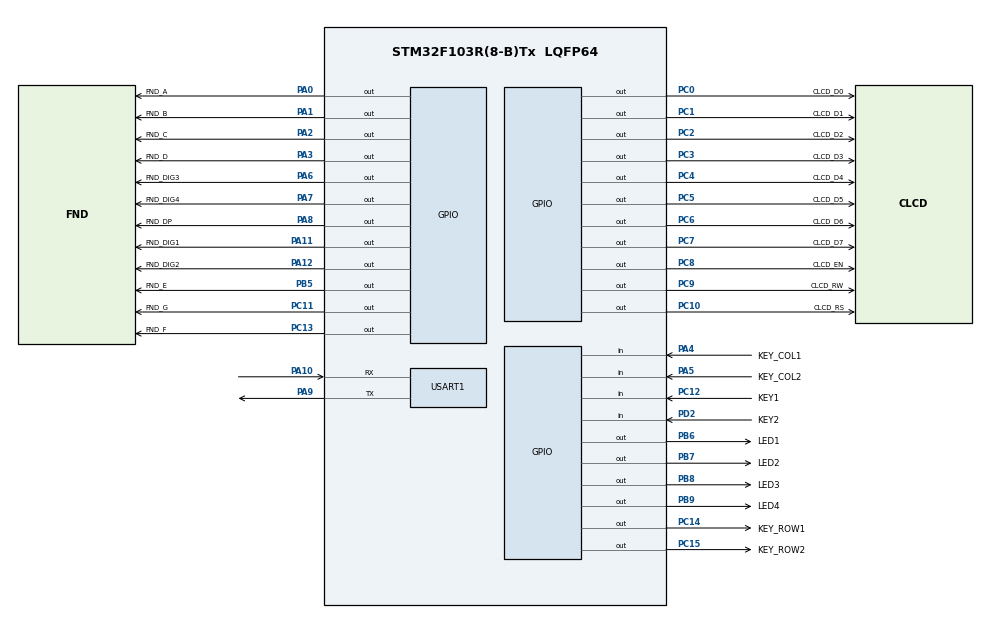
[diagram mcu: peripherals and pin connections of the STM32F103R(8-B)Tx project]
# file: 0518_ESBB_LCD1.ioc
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Mcu.Family=STM32F1
Mcu.Name=STM32F103R(8-B)Tx
Mcu.Package=LQFP64
NVIC.PriorityGroup=NVIC_PRIORITYGROUP_4
NVIC.TIM1_UP_IRQn=true\:0\:0\:false\:false\:true\:true\:true
PA0-WKUP.GPIO_Label=FND_A
PA0-WKUP.Signal=GPIO_Output
PA1.GPIO_Label=FND_B
PA1.Signal=GPIO_Output
PA10.Mode=Asynchronous
PA10.Signal=USART1_RX
PA11.GPIO_Label=FND_DIG1
PA11.Signal=GPIO_Output
PA12.GPIO_Label=FND_DIG2
PA12.Signal=GPIO_Output
PA13.Mode=Serial_Wire
PA13.Signal=SYS_JTMS-SWDIO
PA14.Mode=Serial_Wire
PA14.Signal=SYS_JTCK-SWCLK
PA2.GPIO_Label=FND_C
PA2.Signal=GPIO_Output
PA3.GPIO_Label=FND_D
PA3.Signal=GPIO_Output
PA4.GPIO_Label=KEY_COL1
PA4.Signal=GPIO_Input
PA5.GPIO_Label=KEY_COL2
PA5.Signal=GPIO_Input
PA6.GPIO_Label=FND_DIG3
PA6.Signal=GPIO_Output
PA7.GPIO_Label=FND_DIG4
PA7.Signal=GPIO_Output
PA8.GPIO_Label=FND_DP
PA8.Signal=GPIO_Output
PA9.Mode=Asynchronous
PA9.Signal=USART1_TX
PB5.GPIO_Label=FND_E
PB5.Signal=GPIO_Output
PB6.GPIO_Label=LED1
PB6.Signal=GPIO_Output
PB7.GPIO_Label=LED2
PB7.Signal=GPIO_Output
PB8.GPIO_Label=LED3
PB8.Signal=GPIO_Output
PB9.GPIO_Label=LED4
PB9.Signal=GPIO_Output
PC0.GPIO_Label=CLCD_D0
PC0.Signal=GPIO_Output
PC1.GPIO_Label=CLCD_D1
PC1.Signal=GPIO_Output
PC10.GPIO_Label=CLCD_RS
PC10.Signal=GPIO_Output
PC11.GPIO_Label=FND_G
PC11.Signal=GPIO_Output
PC12.GPIO_Label=KEY1
PC12.Signal=GPIO_Input
PC13-TAMPER-RTC.GPIO_Label=FND_F
PC13-TAMPER-RTC.Signal=GPIO_Output
PC14-OSC32_IN.GPIO_Label=KEY_ROW1
PC14-OSC32_IN.Signal=GPIO_Output
PC15-OSC32_OUT.GPIO_Label=KEY_ROW2
PC15-OSC32_OUT.Signal=GPIO_Output
PC2.GPIO_Label=CLCD_D2
PC2.Signal=GPIO_Output
PC3.GPIO_Label=CLCD_D3
PC3.Signal=GPIO_Output
PC4.GPIO_Label=CLCD_D4
PC4.Signal=GPIO_Output
PC5.GPIO_Label=CLCD_D5
PC5.Signal=GPIO_Output
PC6.GPIO_Label=CLCD_D6
PC6.Signal=GPIO_Output
PC7.GPIO_Label=CLCD_D7
PC7.Signal=GPIO_Output
PC8.GPIO_Label=CLCD_EN
PC8.Signal=GPIO_Output
PC9.GPIO_Label=CLCD_RW
PC9.Signal=GPIO_Output
PD2.GPIO_Label=KEY2
PD2.Signal=GPIO_Input
ProjectManager.HeapSize=0x200
ProjectManager.StackSize=0x400
ProjectManager.TargetToolchain=TrueSTUDIO
RCC.APB1Freq_Value=8000000
RCC.APB2Freq_Value=8000000
TIM1.AutoReloadPreload=TIM_AUTORELOAD_PRELOAD_ENABLE
TIM1.Period=1000-1
TIM1.Prescaler=8-1
USART1.VirtualMode=VM_ASYNC
VP_TIM1_VS_ClockSourceINT.Mode=Internal
board=custom

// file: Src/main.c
/* USER CODE BEGIN Header */
/**
  ******************************************************************************
  * @file           : main.c
  * @brief          : Main program body
  ******************************************************************************
  * @attention
  *
  * <h2><center>&copy; Copyright (c) 2021 STMicroelectronics.
  * All rights reserved.</center></h2>
  *
  * This software component is licensed by ST under BSD 3-Clause license,
  * the "License"; You may not use this file except in compliance with the
  * License. You may obtain a copy of the License at:
  *                        opensource.org/licenses/BSD-3-Clause
  *
  ******************************************************************************
  */
/* USER CODE END Header */

#include "main.h"

/* USER CODE BEGIN Includes */
#include <stdio.h>

#include "led.h"
#include "key.h"
#include "fnd.h"
#include "lcd.h"
/* USER CODE END Includes */

TIM_HandleTypeDef htim1;

UART_HandleTypeDef huart1;

void SystemClock_Config(void);
static void MX_GPIO_Init(void);
static void MX_TIM1_Init(void);
static void MX_USART1_UART_Init(void);

/* USER CODE BEGIN 0 */
volatile uint32_t Tick1m;
uint32_t KeyScanFlag = RESET;
uint8_t  DispScanFlag = RESET;

DISP Disp;    // GLobal variable

void HAL_TIM_PeriodElapsedCallback(TIM_HandleTypeDef *htim)
{
    Tick1m++;

    if( (Tick1m % 100) == 0)
    {
        //KeyScanTask();
        KeyScanFlag = SET;
    }

    if(  (Tick1m % 5) == 0 )
    {
        //DispMuxHandler();
        //DispScanFlag = SET;
        DispMuxHandler(&Disp);
    }
}

int _write(int file, char *ptr, int len)
{
    HAL_UART_Transmit(&huart1, (uint8_t *)ptr, len, 0xFFFFFFFF);

    return len;
}
/* USER CODE END 0 */

int main(void)
{
  /* USER CODE BEGIN 1 */
  //uint8_t key = 0;
  //uint8_t key = 0x2F;
  int8_t key = -10;

  KEY stKey;
  KEY* Key = &stKey ;

  char dispString[4] = "    ";

  //DISP Disp;    // Local variable
  /* USER CODE END 1 */

  /* MCU Configuration--------------------------------------------------------*/

  /* Reset of all peripherals, Initializes the Flash interface and the Systick. */
  HAL_Init();

  /* Configure the system clock */
  SystemClock_Config();

  /* Initialize all configured peripherals */
  MX_GPIO_Init();
  MX_TIM1_Init();
  MX_USART1_UART_Init();
  /* USER CODE BEGIN 2 */
  HAL_TIM_Base_Start_IT(&htim1);

  //KeyInit(&Key);
  KeyInit(Key);

  HAL_GPIO_WritePin(LED1_GPIO_Port, LED1_Pin, GPIO_PIN_SET);    // LED1 OFF
  HAL_GPIO_WritePin(LED2_GPIO_Port, LED2_Pin, GPIO_PIN_SET);    // LED2 OFF
  HAL_GPIO_WritePin(LED3_GPIO_Port, LED3_Pin, GPIO_PIN_SET);    // LED3 OFF
  HAL_GPIO_WritePin(LED4_GPIO_Port, LED4_Pin, GPIO_PIN_SET);    // LED4 OFF

  //DispInit();
  DispInit(&Disp);

  LCD_DispInit();
  LCD_DispString(0, 5, "Key Code");
  /* USER CODE END 2 */

  /* Infinite loop */
  while (1)
  {

    /* USER CODE BEGIN 3 */
      __HAL_TIM_DISABLE_IT(&htim1, TIM_IT_UPDATE);        /*** start critical section ***/
      if ( KeyScanFlag == SET)
      {
          KeyScanFlag = RESET;
          __HAL_TIM_ENABLE_IT(&htim1, TIM_IT_UPDATE);     /*** end critical section ***/
          //KeyScanTask();
          //KeyScanTask(&Key);
          KeyScanTask(Key);
      }
      __HAL_TIM_ENABLE_IT(&htim1, TIM_IT_UPDATE);         /*** end critical section ***/

      //if( KeyHit() )
      //if( KeyHit(&Key) )
      if( KeyHit(Key) )
      {

          //key = KeyGetKey();
          //key = KeyGetKey(&Key);
          key = KeyGetKey(Key);

          switch(key)
          {
              case 0:
              case 4:
              case 8:
                  HAL_GPIO_TogglePin(LED1_GPIO_Port, LED1_Pin);
                  break;
              case 1:
              case 5:
              case 9:
                  HAL_GPIO_TogglePin(LED2_GPIO_Port, LED2_Pin);
                  break;
              case 2:
              case 6:
              case 10:
                  HAL_GPIO_TogglePin(LED3_GPIO_Port, LED3_Pin);
                  break;
              case 3:
              case 7:
              case 11:
                  HAL_GPIO_TogglePin(LED4_GPIO_Port, LED4_Pin);
                  break;
          }
          printf("KEY : %d \r\n", key);
      }
#if 0
      __HAL_TIM_DISABLE_IT(&htim1, TIM_IT_UPDATE);
      if ( DispScanFlag == SET )
      {
          DispScanFlag = RESET;
          __HAL_TIM_ENABLE_IT(&htim1, TIM_IT_UPDATE);
          //DispMuxHandler();
          DispMuxHandler(&Disp);
      }
      __HAL_TIM_ENABLE_IT(&htim1, TIM_IT_UPDATE);
#endif

#if 1
      if(key >= 10){
          dispString[2] = key / 10 + 0x30;
          dispString[3] = key % 10 + 0x30;
      }
      else {
          dispString[2] = 0x20;          // 0x20: Space
          dispString[3] = key + 0x30;    // ASCII Code of '0' : 0x30
      }
      //DispStr(0, dispString);
      DispStr(&Disp, 0, dispString);

      LCD_DispString(0, 0, dispString);
#else
      DispStr(&Disp, 0, "abcd");
#endif

  }
  /* USER CODE END 3 */
}

void SystemClock_Config(void)
{
  RCC_OscInitTypeDef RCC_OscInitStruct = {0};
  RCC_ClkInitTypeDef RCC_ClkInitStruct = {0};

  /** Initializes the CPU, AHB and APB busses clocks
  */
  RCC_OscInitStruct.OscillatorType = RCC_OSCILLATORTYPE_HSI;
  RCC_OscInitStruct.HSIState = RCC_HSI_ON;
  RCC_OscInitStruct.HSICalibrationValue = RCC_HSICALIBRATION_DEFAULT;
  RCC_OscInitStruct.PLL.PLLState = RCC_PLL_NONE;
  if (HAL_RCC_OscConfig(&RCC_OscInitStruct) != HAL_OK)
  {
    Error_Handler();
  }
  /** Initializes the CPU, AHB and APB busses clocks
  */
  RCC_ClkInitStruct.ClockType = RCC_CLOCKTYPE_HCLK|RCC_CLOCKTYPE_SYSCLK
                              |RCC_CLOCKTYPE_PCLK1|RCC_CLOCKTYPE_PCLK2;
  RCC_ClkInitStruct.SYSCLKSource = RCC_SYSCLKSOURCE_HSI;
  RCC_ClkInitStruct.AHBCLKDivider = RCC_SYSCLK_DIV1;
  RCC_ClkInitStruct.APB1CLKDivider = RCC_HCLK_DIV1;
  RCC_ClkInitStruct.APB2CLKDivider = RCC_HCLK_DIV1;

  if (HAL_RCC_ClockConfig(&RCC_ClkInitStruct, FLASH_LATENCY_0) != HAL_OK)
  {
    Error_Handler();
  }
}

static void MX_TIM1_Init(void)
{

  TIM_ClockConfigTypeDef sClockSourceConfig = {0};
  TIM_MasterConfigTypeDef sMasterConfig = {0};

  htim1.Instance = TIM1;
  htim1.Init.Prescaler = 8-1;
  htim1.Init.CounterMode = TIM_COUNTERMODE_UP;
  htim1.Init.Period = 1000-1;
  htim1.Init.ClockDivision = TIM_CLOCKDIVISION_DIV1;
  htim1.Init.RepetitionCounter = 0;
  htim1.Init.AutoReloadPreload = TIM_AUTORELOAD_PRELOAD_ENABLE;
  if (HAL_TIM_Base_Init(&htim1) != HAL_OK)
  {
    Error_Handler();
  }
  sClockSourceConfig.ClockSource = TIM_CLOCKSOURCE_INTERNAL;
  if (HAL_TIM_ConfigClockSource(&htim1, &sClockSourceConfig) != HAL_OK)
  {
    Error_Handler();
  }
  sMasterConfig.MasterOutputTrigger = TIM_TRGO_RESET;
  sMasterConfig.MasterSlaveMode = TIM_MASTERSLAVEMODE_DISABLE;
  if (HAL_TIMEx_MasterConfigSynchronization(&htim1, &sMasterConfig) != HAL_OK)
  {
    Error_Handler();
  }

}

static void MX_USART1_UART_Init(void)
{

  huart1.Instance = USART1;
  huart1.Init.BaudRate = 115200;
  huart1.Init.WordLength = UART_WORDLENGTH_8B;
  huart1.Init.StopBits = UART_STOPBITS_1;
  huart1.Init.Parity = UART_PARITY_NONE;
  huart1.Init.Mode = UART_MODE_TX_RX;
  huart1.Init.HwFlowCtl = UART_HWCONTROL_NONE;
  huart1.Init.OverSampling = UART_OVERSAMPLING_16;
  if (HAL_UART_Init(&huart1) != HAL_OK)
  {
    Error_Handler();
  }

}

static void MX_GPIO_Init(void)
{
  GPIO_InitTypeDef GPIO_InitStruct = {0};

  /* GPIO Ports Clock Enable */
  __HAL_RCC_GPIOC_CLK_ENABLE();
  __HAL_RCC_GPIOA_CLK_ENABLE();
  __HAL_RCC_GPIOD_CLK_ENABLE();
  __HAL_RCC_GPIOB_CLK_ENABLE();

  /*Configure GPIO pin Output Level */
  HAL_GPIO_WritePin(GPIOC, FND_F_Pin|KEY_ROW1_Pin|KEY_ROW2_Pin|CLCD_D0_Pin
                          |CLCD_D1_Pin|CLCD_D2_Pin|CLCD_D3_Pin|CLCD_D4_Pin
                          |CLCD_D5_Pin|CLCD_D6_Pin|CLCD_D7_Pin|CLCD_EN_Pin
                          |CLCD_RW_Pin|CLCD_RS_Pin|FND_G_Pin, GPIO_PIN_RESET);

  /*Configure GPIO pin Output Level */
  HAL_GPIO_WritePin(GPIOA, FND_A_Pin|FND_B_Pin|FND_C_Pin|FND_D_Pin
                          |FND_DIG3_Pin|FND_DIG4_Pin|FND_DP_Pin|FND_DIG1_Pin
                          |FND_DIG2_Pin, GPIO_PIN_RESET);

  /*Configure GPIO pin Output Level */
  HAL_GPIO_WritePin(GPIOB, FND_E_Pin|LED1_Pin|LED2_Pin|LED3_Pin
                          |LED4_Pin, GPIO_PIN_RESET);

  /*Configure GPIO pins : FND_F_Pin KEY_ROW1_Pin KEY_ROW2_Pin CLCD_D0_Pin
                           CLCD_D1_Pin CLCD_D2_Pin CLCD_D3_Pin CLCD_D4_Pin
                           CLCD_D5_Pin CLCD_D6_Pin CLCD_D7_Pin CLCD_EN_Pin
                           CLCD_RW_Pin CLCD_RS_Pin FND_G_Pin */
  GPIO_InitStruct.Pin = FND_F_Pin|KEY_ROW1_Pin|KEY_ROW2_Pin|CLCD_D0_Pin
                          |CLCD_D1_Pin|CLCD_D2_Pin|CLCD_D3_Pin|CLCD_D4_Pin
                          |CLCD_D5_Pin|CLCD_D6_Pin|CLCD_D7_Pin|CLCD_EN_Pin
                          |CLCD_RW_Pin|CLCD_RS_Pin|FND_G_Pin;
  GPIO_InitStruct.Mode = GPIO_MODE_OUTPUT_PP;
  GPIO_InitStruct.Pull = GPIO_NOPULL;
  GPIO_InitStruct.Speed = GPIO_SPEED_FREQ_LOW;
  HAL_GPIO_Init(GPIOC, &GPIO_InitStruct);

  /*Configure GPIO pins : FND_A_Pin FND_B_Pin FND_C_Pin FND_D_Pin
                           FND_DIG3_Pin FND_DIG4_Pin FND_DP_Pin FND_DIG1_Pin
                           FND_DIG2_Pin */
  GPIO_InitStruct.Pin = FND_A_Pin|FND_B_Pin|FND_C_Pin|FND_D_Pin
                          |FND_DIG3_Pin|FND_DIG4_Pin|FND_DP_Pin|FND_DIG1_Pin
                          |FND_DIG2_Pin;
  GPIO_InitStruct.Mode = GPIO_MODE_OUTPUT_PP;
  GPIO_InitStruct.Pull = GPIO_NOPULL;
  GPIO_InitStruct.Speed = GPIO_SPEED_FREQ_LOW;
  HAL_GPIO_Init(GPIOA, &GPIO_InitStruct);

  /*Configure GPIO pins : KEY_COL1_Pin KEY_COL2_Pin */
  GPIO_InitStruct.Pin = KEY_COL1_Pin|KEY_COL2_Pin;
  GPIO_InitStruct.Mode = GPIO_MODE_INPUT;
  GPIO_InitStruct.Pull = GPIO_NOPULL;
  HAL_GPIO_Init(GPIOA, &GPIO_InitStruct);

  /*Configure GPIO pin : KEY1_Pin */
  GPIO_InitStruct.Pin = KEY1_Pin;
  GPIO_InitStruct.Mode = GPIO_MODE_INPUT;
  GPIO_InitStruct.Pull = GPIO_NOPULL;
  HAL_GPIO_Init(KEY1_GPIO_Port, &GPIO_InitStruct);

  /*Configure GPIO pin : KEY2_Pin */
  GPIO_InitStruct.Pin = KEY2_Pin;
  GPIO_InitStruct.Mode = GPIO_MODE_INPUT;
  GPIO_InitStruct.Pull = GPIO_NOPULL;
  HAL_GPIO_Init(KEY2_GPIO_Port, &GPIO_InitStruct);

  /*Configure GPIO pins : FND_E_Pin LED1_Pin LED2_Pin LED3_Pin
                           LED4_Pin */
  GPIO_InitStruct.Pin = FND_E_Pin|LED1_Pin|LED2_Pin|LED3_Pin
                          |LED4_Pin;
  GPIO_InitStruct.Mode = GPIO_MODE_OUTPUT_PP;
  GPIO_InitStruct.Pull = GPIO_NOPULL;
  GPIO_InitStruct.Speed = GPIO_SPEED_FREQ_LOW;
  HAL_GPIO_Init(GPIOB, &GPIO_InitStruct);

}

void Error_Handler(void)
{
}

/************************ (C) COPYRIGHT STMicroelectronics *****END OF FILE****/
